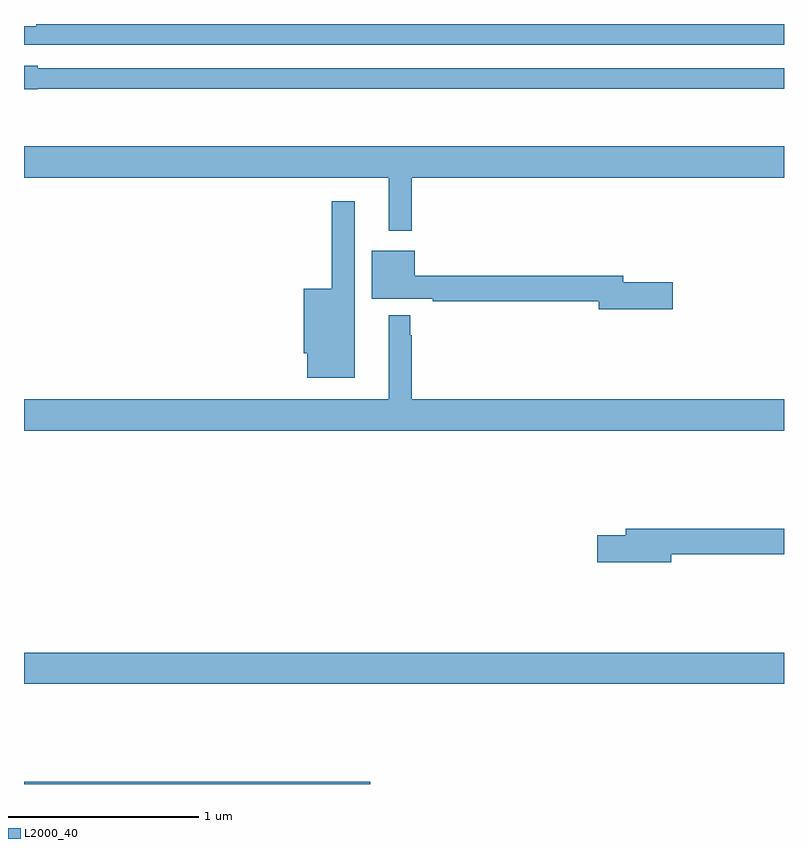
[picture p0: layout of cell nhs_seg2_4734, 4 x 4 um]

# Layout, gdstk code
import gdstk
lib = gdstk.Library(unit=1e-6, precision=1e-09)
def R(c, l, rs):  # rectangles x0, y0, x1, y1
    for r in rs: c.add(gdstk.rectangle(r[:2], r[2:], *l))
def P(c, l, *ps):  # polygons
    for p in ps: c.add(gdstk.Polygon(p, *l))
L2000_40 = (2000, 40)

nhs_seg2_4734 = lib.new_cell('nhs_seg2_4734')
R(nhs_seg2_4734, L2000_40, [(369,621.8,370.822,621.812), (369,622.328,373,622.492)])
P(nhs_seg2_4734, L2000_40, [(373,625.8),(369.064,625.8),(369.064,625.789),(369,625.789),(369,625.692),(373,625.692)],
  [(369.072,625.458),(373,625.458),(373,625.566),(369.072,625.566),(369.072,625.579),(369,625.579),(369,625.457),(369.072,625.457)],
  [(371.041,624.992),(373,624.992),(373,625.156),(369,625.156),(369,624.992),(370.919,624.992),(370.919,624.711),(371.041,624.711)],
  [(370.741,624.868),(370.62,624.868),(370.62,624.406),(370.472,624.406),(370.472,624.066),(370.49,624.066),(370.49,623.939),(370.741,623.939)],
  [(372.415,624.44),(372.154,624.44),(372.154,624.476),(371.056,624.476),(371.056,624.607),(370.829,624.607),(370.829,624.353),(371.152,624.353),(371.152,624.34),(372.026,624.34),(372.026,624.298),(372.415,624.298)],
  [(373,623.824),(371.041,623.824),(371.041,624.161),(371.034,624.161),(371.034,624.268),(370.919,624.268),(370.919,623.824),(369,623.824),(369,623.66),(373,623.66)],
  [(372.406,623.008),(373,623.008),(373,623.144),(372.167,623.144),(372.167,623.108),(372.018,623.108),(372.018,622.966),(372.406,622.966)])

lib.write_gds('nhs_seg2_4734.gds')
